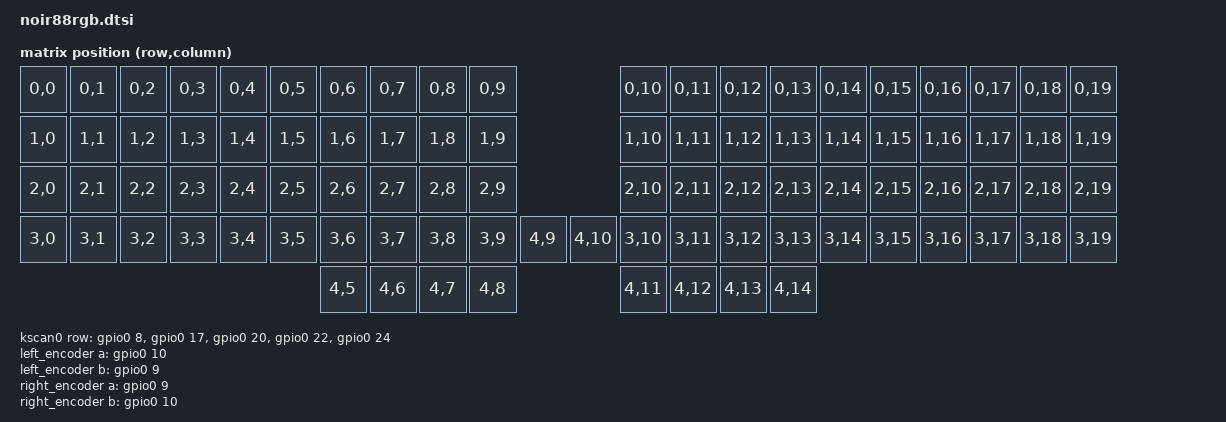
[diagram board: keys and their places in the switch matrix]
/*
 * Copyright (c) 2020 Noir Guo
 *
 * SPDX-License-Identifier: MIT
 */

#include <dt-bindings/zmk/matrix_transform.h>

/ {
    chosen {
        zmk,kscan = &kscan0;
        zmk,matrix-transform = &default_transform;
    };

    default_transform: keymap_transform_0 {
        compatible = "zmk,matrix-transform";
        columns = <20>;
        rows = <5>;
// ------------------------------------------------------------------------------------------------------------
// |SW1    |SW2    |SW3    |SW4    |SW5    |SW6    |SW7    |SW8    |SW9   |SW10   |                  |SW55   |SW54    |SW53    |SW52   |SW51    |SW50     |SW49    |SW48    |SW47   |SW46   |
// |SW11   |SW12   |SW13   |SW14   |SW15   |SW16   |SW17   |SW18   |SW19  |SW20   |                  |SW65   |SW64    |SW63    |SW62   |SW61    |SW60     |SW59    |SW58    |SW57   |SW56   |
// |SW21   |SW22   |SW23   |SW24   |SW25   |SW26   |SW27   |SW28   |SW29  |SW30   |                  |SW75   |SW74    |SW73    |SW72   |SW71    |SW70     |SW69    |SW68    |SW67   |SW66   |
// |SW31   |SW32   |SW33   |SW34   |SW35   |SW36   |SW37   |SW38   |SW39  |SW40   |U1    | |U2       |SW85   |SW84    |SW83    |SW82   |SW81    |SW80     |SW79    |SW78    |SW77   |SW76   |
//                                                 |SW41   |SW42   |SW43  |SW44   |                  |SW89   |SW88    |SW87    |SW86   |

        map = <
   RC(0,0) RC(0,1) RC(0,2) RC(0,3) RC(0,4) RC(0,5) RC(0,6) RC(0,7) RC(0,8) RC(0,9)                  RC(0,10) RC(0,11) RC(0,12) RC(0,13) RC(0,14) RC(0,15) RC(0,16) RC(0,17) RC(0,18) RC(0,19)
   RC(1,0) RC(1,1) RC(1,2) RC(1,3) RC(1,4) RC(1,5) RC(1,6) RC(1,7) RC(1,8) RC(1,9)                  RC(1,10) RC(1,11) RC(1,12) RC(1,13) RC(1,14) RC(1,15) RC(1,16) RC(1,17) RC(1,18) RC(1,19)
   RC(2,0) RC(2,1) RC(2,2) RC(2,3) RC(2,4) RC(2,5) RC(2,6) RC(2,7) RC(2,8) RC(2,9)                  RC(2,10) RC(2,11) RC(2,12) RC(2,13) RC(2,14) RC(2,15) RC(2,16) RC(2,17) RC(2,18) RC(2,19)
   RC(3,0) RC(3,1) RC(3,2) RC(3,3) RC(3,4) RC(3,5) RC(3,6) RC(3,7) RC(3,8) RC(3,9) RC(4,9) RC(4,10) RC(3,10) RC(3,11) RC(3,12) RC(3,13) RC(3,14) RC(3,15) RC(3,16) RC(3,17) RC(3,18) RC(3,19)
                                                   RC(4,5) RC(4,6) RC(4,7) RC(4,8)                  RC(4,11) RC(4,12) RC(4,13) RC(4,14) 

        >;
    };

    kscan0: kscan {
        compatible = "zmk,kscan-gpio-matrix";
        diode-direction = "col2row";
        wakeup-source;

        row-gpios
            = <&gpio0 8 (GPIO_ACTIVE_HIGH | GPIO_PULL_DOWN)>
            , <&gpio0 17 (GPIO_ACTIVE_HIGH | GPIO_PULL_DOWN)>
            , <&gpio0 20 (GPIO_ACTIVE_HIGH | GPIO_PULL_DOWN)>
            , <&gpio0 22 (GPIO_ACTIVE_HIGH | GPIO_PULL_DOWN)>
            , <&gpio0 24 (GPIO_ACTIVE_HIGH | GPIO_PULL_DOWN)>
        ;


    };

    left_encoder: encoder_left {
        compatible = "alps,ec11";
        a-gpios = <&gpio0 10 (GPIO_ACTIVE_HIGH | GPIO_PULL_UP)>;
        b-gpios = <&gpio0 9 (GPIO_ACTIVE_HIGH | GPIO_PULL_UP)>;
        steps = <80>;
    };

    right_encoder: encoder_right {
        compatible = "alps,ec11";
        a-gpios = <&gpio0 9 (GPIO_ACTIVE_HIGH | GPIO_PULL_UP)>;
        b-gpios = <&gpio0 10 (GPIO_ACTIVE_HIGH | GPIO_PULL_UP)>;
        steps = <80>;
    };

    sensors: sensors {
        compatible = "zmk,keymap-sensors";
        sensors = <&left_encoder &right_encoder>;
        triggers-per-rotation = <20>;
    };

};

